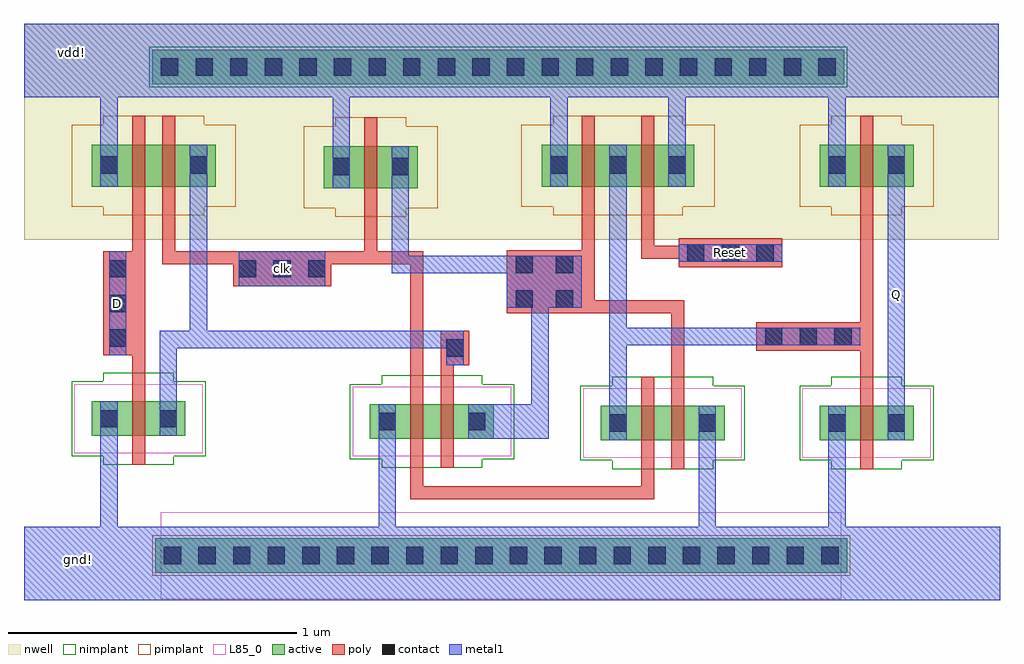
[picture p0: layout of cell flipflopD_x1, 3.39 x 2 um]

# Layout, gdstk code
from math import pi, radians
import gdstk
lib = gdstk.Library(unit=1e-6, precision=5e-10)
def R(c, l, rs):  # rectangles x0, y0, x1, y1
    for r in rs: c.add(gdstk.rectangle(r[:2], r[2:], *l))
def A(c, l, x, y, w, h, nx, ny, dx, dy):  # array of equal rectangles
    R(c, l, [(x+i*dx, y+j*dy, x+i*dx+w, y+j*dy+h) for i in range(nx) for j in range(ny)])
active = (1, 0)
nwell = (2, 0)
poly = (3, 0)
nimplant = (4, 0)
pimplant = (5, 0)
contact = (6, 0)
metal1 = (7, 0)
L85_0 = (85, 0)

pmos1v_cdns_764523440820 = lib.new_cell('pmos1v_CDNS_764523440820')
R(pmos1v_cdns_764523440820, active, [(-0.14,0,0,0.145), (0,0,0.045,0.145), (0.045,0,0.185,0.145)])
R(pmos1v_cdns_764523440820, nwell, [(-0.2,-0.06,0.245,0.205)])
R(pmos1v_cdns_764523440820, poly, [(0,-0.1,0.045,-0.05), (0,-0.05,0.045,0), (0,0,0.045,0.145), (0,0.145,0.045,0.195), (0,0.195,0.045,0.245)])
R(pmos1v_cdns_764523440820, pimplant, [(-0.1,-0.1,0.145,0.245), (-0.21,-0.07,0.255,0.215)])
R(pmos1v_cdns_764523440820, contact, [(-0.11,0.045,-0.05,0.105), (0.095,0.045,0.155,0.105)])
R(pmos1v_cdns_764523440820, metal1, [(-0.11,0,-0.05,0.145), (0.095,0,0.155,0.145)])

nmos1v_cdns_764523440821 = lib.new_cell('nmos1v_CDNS_764523440821')
R(nmos1v_cdns_764523440821, active, [(-0.14,0,0,0.12), (0,0,0.045,0.12), (0.045,0,0.185,0.12)])
R(nmos1v_cdns_764523440821, poly, [(0,-0.1,0.045,-0.05), (0,-0.05,0.045,0), (0,0,0.045,0.12), (0,0.12,0.045,0.17), (0,0.17,0.045,0.22)])
R(nmos1v_cdns_764523440821, nimplant, [(-0.1,-0.1,0.145,0.22), (-0.21,-0.07,0.255,0.19)])
R(nmos1v_cdns_764523440821, contact, [(-0.11,0.03,-0.05,0.09), (0.095,0.03,0.155,0.09)])
R(nmos1v_cdns_764523440821, metal1, [(-0.11,0,-0.05,0.12), (0.095,0,0.155,0.12)])
R(nmos1v_cdns_764523440821, L85_0, [(-0.2,-0.06,0.245,0.18)])

nmos1v_cdns_764523440822 = lib.new_cell('nmos1v_CDNS_764523440822')
R(nmos1v_cdns_764523440822, active, [(-0.14,0,0,0.12), (0,0,0.045,0.12), (0.045,0,0.075,0.12)])
R(nmos1v_cdns_764523440822, poly, [(0,-0.1,0.045,-0.05), (0,-0.05,0.045,0), (0,0,0.045,0.12), (0,0.12,0.045,0.17), (0,0.17,0.045,0.22)])
R(nmos1v_cdns_764523440822, nimplant, [(-0.1,-0.1,0.145,0.22), (-0.21,-0.07,0.145,0.19)])
R(nmos1v_cdns_764523440822, contact, [(-0.11,0.03,-0.05,0.09)])
R(nmos1v_cdns_764523440822, metal1, [(-0.11,0,-0.05,0.12)])
R(nmos1v_cdns_764523440822, L85_0, [(-0.2,-0.06,0.135,0.18)])

nmos1v_cdns_764523440823 = lib.new_cell('nmos1v_CDNS_764523440823')
R(nmos1v_cdns_764523440823, active, [(-0.03,0,0,0.12), (0,0,0.045,0.12), (0.045,0,0.185,0.12)])
R(nmos1v_cdns_764523440823, poly, [(0,-0.1,0.045,-0.05), (0,-0.05,0.045,0), (0,0,0.045,0.12), (0,0.12,0.045,0.17), (0,0.17,0.045,0.22)])
R(nmos1v_cdns_764523440823, nimplant, [(-0.1,-0.1,0.145,0.22), (-0.1,-0.07,0.255,0.19)])
R(nmos1v_cdns_764523440823, contact, [(0.095,0.03,0.155,0.09)])
R(nmos1v_cdns_764523440823, metal1, [(0.095,0,0.155,0.12)])
R(nmos1v_cdns_764523440823, L85_0, [(-0.09,-0.06,0.245,0.18)])

pmos1v_cdns_764523440824 = lib.new_cell('pmos1v_CDNS_764523440824')
R(pmos1v_cdns_764523440824, active, [(-0.03,0,0,0.145), (0,0,0.045,0.145), (0.045,0,0.185,0.145)])
R(pmos1v_cdns_764523440824, nwell, [(-0.09,-0.06,0.245,0.205)])
R(pmos1v_cdns_764523440824, poly, [(0,-0.1,0.045,-0.05), (0,-0.05,0.045,0), (0,0,0.045,0.145), (0,0.145,0.045,0.195), (0,0.195,0.045,0.245)])
R(pmos1v_cdns_764523440824, pimplant, [(-0.1,-0.1,0.145,0.245), (-0.1,-0.07,0.255,0.215)])
R(pmos1v_cdns_764523440824, contact, [(0.095,0.045,0.155,0.105)])
R(pmos1v_cdns_764523440824, metal1, [(0.095,0,0.155,0.145)])

pmos1v_cdns_764523440825 = lib.new_cell('pmos1v_CDNS_764523440825')
R(pmos1v_cdns_764523440825, active, [(-0.14,0,0,0.145), (0,0,0.045,0.145), (0.045,0,0.075,0.145)])
R(pmos1v_cdns_764523440825, nwell, [(-0.2,-0.06,0.135,0.205)])
R(pmos1v_cdns_764523440825, poly, [(0,-0.1,0.045,-0.05), (0,-0.05,0.045,0), (0,0,0.045,0.145), (0,0.145,0.045,0.195), (0,0.195,0.045,0.245)])
R(pmos1v_cdns_764523440825, pimplant, [(-0.1,-0.1,0.145,0.245), (-0.21,-0.07,0.145,0.215)])
R(pmos1v_cdns_764523440825, contact, [(-0.11,0.045,-0.05,0.105)])
R(pmos1v_cdns_764523440825, metal1, [(-0.11,0,-0.05,0.145)])

pmos1v_cdns_764523440826 = lib.new_cell('pmos1v_CDNS_764523440826')
R(pmos1v_cdns_764523440826, active, [(-0.14,0,0,0.145), (0,0,0.045,0.145), (0.045,0,0.095,0.145)])
R(pmos1v_cdns_764523440826, nwell, [(-0.2,-0.06,0.155,0.205)])
R(pmos1v_cdns_764523440826, poly, [(0,-0.1,0.045,-0.05), (0,-0.05,0.045,0), (0,0,0.045,0.145), (0,0.145,0.045,0.195), (0,0.195,0.045,0.245)])
R(pmos1v_cdns_764523440826, pimplant, [(-0.1,-0.1,0.145,0.245), (-0.21,-0.07,0.165,0.215)])
R(pmos1v_cdns_764523440826, contact, [(-0.11,0.045,-0.05,0.105)])
R(pmos1v_cdns_764523440826, metal1, [(-0.11,0,-0.05,0.145)])

pmos1v_cdns_764523440827 = lib.new_cell('pmos1v_CDNS_764523440827')
R(pmos1v_cdns_764523440827, active, [(-0.14,0,0,0.145), (0,0,0.045,0.145), (0.045,0,0.155,0.145)])
R(pmos1v_cdns_764523440827, nwell, [(-0.2,-0.06,0.215,0.205)])
R(pmos1v_cdns_764523440827, poly, [(0,-0.1,0.045,-0.05), (0,-0.05,0.045,0), (0,0,0.045,0.145), (0,0.145,0.045,0.195), (0,0.195,0.045,0.245)])
R(pmos1v_cdns_764523440827, pimplant, [(-0.1,-0.1,0.145,0.245), (-0.21,-0.07,0.225,0.215)])
R(pmos1v_cdns_764523440827, contact, [(-0.11,0.045,-0.05,0.105), (0.095,0.045,0.155,0.105)])
R(pmos1v_cdns_764523440827, metal1, [(-0.11,0,-0.05,0.145), (0.095,0,0.155,0.145)])

m1_psub_cdns_76452344082 = lib.new_cell('M1_PSUB_CDNS_764523440820')
R(m1_psub_cdns_76452344082, active, [(-1.2,-0.06,1.2,0.06)])
R(m1_psub_cdns_76452344082, pimplant, [(-1.21,-0.07,1.21,0.07)])
A(m1_psub_cdns_76452344082, contact, -1.17, -0.03, 0.06, 0.06, 20, 1, 0.12, 0)
R(m1_psub_cdns_76452344082, metal1, [(-1.17,-0.06,1.17,0.06)])
R(m1_psub_cdns_76452344082, L85_0, [(-1.18,-0.15,1.18,0.15)])

m1_nwell_cdns_7645234408 = lib.new_cell('M1_NWELL_CDNS_764523440821')
R(m1_nwell_cdns_7645234408, active, [(-1.2,-0.06,1.2,0.06)])
R(m1_nwell_cdns_7645234408, nwell, [(-1.23,-0.15,1.23,0.15)])
R(m1_nwell_cdns_7645234408, nimplant, [(-1.21,-0.07,1.21,0.07)])
A(m1_nwell_cdns_7645234408, contact, -1.17, -0.03, 0.06, 0.06, 20, 1, 0.12, 0)
R(m1_nwell_cdns_7645234408, metal1, [(-1.17,-0.06,1.17,0.06)])

m1_po_cdns_764523440822 = lib.new_cell('M1_PO_CDNS_764523440822')
R(m1_po_cdns_764523440822, poly, [(-0.17,-0.06,0.17,0.06)])
A(m1_po_cdns_764523440822, contact, -0.15, -0.03, 0.06, 0.06, 3, 1, 0.12, 0)
R(m1_po_cdns_764523440822, metal1, [(-0.15,-0.06,0.15,0.06)])

m1_po_cdns_764523440823 = lib.new_cell('M1_PO_CDNS_764523440823')
R(m1_po_cdns_764523440823, poly, [(-0.05,-0.18,0.05,0.18)])
A(m1_po_cdns_764523440823, contact, -0.03, -0.15, 0.06, 0.06, 1, 3, 0, 0.12)
R(m1_po_cdns_764523440823, metal1, [(-0.03,-0.18,0.03,0.18)])

m1_po_cdns_764523440824 = lib.new_cell('M1_PO_CDNS_764523440824')
R(m1_po_cdns_764523440824, poly, [(-0.11,-0.13,0.11,0.13)])
R(m1_po_cdns_764523440824, contact, [(-0.09,-0.1,-0.03,-0.04), (0.03,-0.1,0.09,-0.04), (-0.09,0.04,-0.03,0.1), (0.03,0.04,0.09,0.1)])
R(m1_po_cdns_764523440824, metal1, [(-0.09,-0.13,0.09,0.13)])

m1_po_cdns_764523440825 = lib.new_cell('M1_PO_CDNS_764523440825')
R(m1_po_cdns_764523440825, poly, [(-0.05,-0.06,0.05,0.06)])
R(m1_po_cdns_764523440825, contact, [(-0.03,-0.03,0.03,0.03)])
R(m1_po_cdns_764523440825, metal1, [(-0.03,-0.06,0.03,0.06)])

flipflopd_x1 = lib.new_cell('flipflopD_x1')
R(flipflopd_x1, nwell, [(0,1.25,3.38,2)])
R(flipflopd_x1, metal1, [(0,0,3.385,0.255), (0.14,0.09,0.24,0.19), (0.295,1,0.355,1.06), (2.995,1.03,3.055,1.09), (0.865,1.12,0.925,1.18), (2.42,1.175,2.48,1.235), (0,1.745,3.38,2), (0.115,1.85,0.215,1.95)])
flipflopd_x1.add(gdstk.FlexPath([(2.4425,1.2075),(2.4425,1.22)], 0.045, ends=(0.0225, 0), simple_path=True, layer=3, datatype=0))  # poly
flipflopd_x1.add(gdstk.FlexPath([(0.3975,1.335),(0.3975,0.79)], 0.045, ends="flush", simple_path=True, layer=3, datatype=0))  # poly
flipflopd_x1.add(gdstk.FlexPath([(1.3625,1.1875),(1.3625,0.78)], 0.045, ends=(0.0225, 0), simple_path=True, layer=3, datatype=0))  # poly
flipflopd_x1.add(gdstk.FlexPath([(0.5025,1.335),(0.5025,1.1875)], 0.045, ends=(0, 0.0225), simple_path=True, layer=3, datatype=0))  # poly
flipflopd_x1.add(gdstk.FlexPath([(1.2025,1.1875),(1.3625,1.1875)], 0.045, ends="extended", simple_path=True, layer=3, datatype=0))  # poly
flipflopd_x1.add(gdstk.FlexPath([(1.9575,1.335),(1.9575,1.0175)], 0.045, ends=(0, 0.0225), simple_path=True, layer=3, datatype=0))  # poly
flipflopd_x1.add(gdstk.FlexPath([(1.3625,0.46),(1.3625,0.3725)], 0.045, ends=(0, 0.0225), simple_path=True, layer=3, datatype=0))  # poly
flipflopd_x1.add(gdstk.FlexPath([(1.3625,0.3725),(2.1625,0.3725)], 0.045, ends="extended", simple_path=True, layer=3, datatype=0))  # poly
flipflopd_x1.add(gdstk.FlexPath([(2.1625,0.3725),(2.1625,0.455)], 0.045, ends=(0.0225, 0), simple_path=True, layer=3, datatype=0))  # poly
flipflopd_x1.add(gdstk.FlexPath([(2.9225,1.335),(2.9225,0.775)], 0.045, ends="flush", simple_path=True, layer=3, datatype=0))  # poly
flipflopd_x1.add(gdstk.FlexPath([(1.2025,1.33),(1.2025,1.1875)], 0.045, ends=(0, 0.0225), simple_path=True, layer=3, datatype=0))  # poly
flipflopd_x1.add(gdstk.FlexPath([(0.5025,1.1875),(1.2025,1.1875)], 0.045, ends="extended", simple_path=True, layer=3, datatype=0))  # poly
flipflopd_x1.add(gdstk.FlexPath([(2.1625,1.335),(2.1625,1.2075)], 0.045, ends=(0, 0.0225), simple_path=True, layer=3, datatype=0))  # poly
flipflopd_x1.add(gdstk.FlexPath([(2.1625,1.2075),(2.4425,1.2075)], 0.045, ends="extended", simple_path=True, layer=3, datatype=0))  # poly
flipflopd_x1.add(gdstk.FlexPath([(2.2675,1.0175),(2.2675,0.775)], 0.045, ends=(0.0225, 0), simple_path=True, layer=3, datatype=0))  # poly
flipflopd_x1.add(gdstk.FlexPath([(1.9575,1.0175),(2.2675,1.0175)], 0.045, ends="extended", simple_path=True, layer=3, datatype=0))  # poly
flipflopd_x1.add(gdstk.FlexPath([(1.4675,0.78),(1.4675,0.8725)], 0.045, ends=(0, 0.0225), simple_path=True, layer=3, datatype=0))  # poly
flipflopd_x1.add(gdstk.FlexPath([(1.4675,0.8725),(1.49,0.8725)], 0.045, ends=(0.0225, 0), simple_path=True, layer=3, datatype=0))  # poly
flipflopd_x1.add(gdstk.FlexPath([(2.265,1.58),(2.265,1.745)], 0.06, ends="flush", simple_path=True, layer=7, datatype=0))  # metal1
flipflopd_x1.add(gdstk.FlexPath([(0.5,0.69),(0.5,0.905)], 0.06, ends=(0, 0.03), simple_path=True, layer=7, datatype=0))  # metal1
flipflopd_x1.add(gdstk.FlexPath([(0.5,0.905),(0.605,0.905)], 0.06, ends="extended", simple_path=True, layer=7, datatype=0))  # metal1
flipflopd_x1.add(gdstk.FlexPath([(0.605,0.905),(0.605,1.435)], 0.06, ends=(0.03, 0), simple_path=True, layer=7, datatype=0))  # metal1
flipflopd_x1.add(gdstk.FlexPath([(0.295,0.57),(0.295,0.255)], 0.06, ends="flush", simple_path=True, layer=7, datatype=0))  # metal1
flipflopd_x1.add(gdstk.FlexPath([(1.26,0.56),(1.26,0.255)], 0.06, ends="flush", simple_path=True, layer=7, datatype=0))  # metal1
flipflopd_x1.add(gdstk.FlexPath([(0.605,0.905),(1.495,0.905)], 0.06, ends=(0.03, 0), simple_path=True, layer=7, datatype=0))  # metal1
flipflopd_x1.add(gdstk.FlexPath([(1.305,1.43),(1.305,1.165)], 0.06, ends=(0, 0.03), simple_path=True, layer=7, datatype=0))  # metal1
flipflopd_x1.add(gdstk.FlexPath([(1.305,1.165),(1.79,1.165)], 0.06, ends="extended", simple_path=True, layer=7, datatype=0))  # metal1
flipflopd_x1.add(gdstk.FlexPath([(1.6,0.62),(1.785,0.62)], 0.12, ends="flush", simple_path=True, layer=7, datatype=0))  # metal1
flipflopd_x1.add(gdstk.FlexPath([(2.06,0.675),(2.06,0.915)], 0.06, ends=(0, 0.03), simple_path=True, layer=7, datatype=0))  # metal1
flipflopd_x1.add(gdstk.FlexPath([(2.37,0.555),(2.37,0.255)], 0.06, ends="flush", simple_path=True, layer=7, datatype=0))  # metal1
flipflopd_x1.add(gdstk.FlexPath([(2.82,0.555),(2.82,0.255)], 0.06, ends="flush", simple_path=True, layer=7, datatype=0))  # metal1
flipflopd_x1.add(gdstk.FlexPath([(3.025,1.435),(3.025,0.675)], 0.06, ends="flush", simple_path=True, layer=7, datatype=0))  # metal1
flipflopd_x1.add(gdstk.FlexPath([(1.1,1.575),(1.1,1.745)], 0.06, ends="flush", simple_path=True, layer=7, datatype=0))  # metal1
flipflopd_x1.add(gdstk.FlexPath([(2.06,1.435),(2.06,0.915)], 0.06, ends=(0, 0.03), simple_path=True, layer=7, datatype=0))  # metal1
flipflopd_x1.add(gdstk.FlexPath([(1.79,1.165),(1.79,0.56)], 0.06, ends=(0.03, 0), simple_path=True, layer=7, datatype=0))  # metal1
flipflopd_x1.add(gdstk.FlexPath([(1.855,1.58),(1.855,1.745)], 0.06, ends="flush", simple_path=True, layer=7, datatype=0))  # metal1
flipflopd_x1.add(gdstk.FlexPath([(2.06,0.915),(2.72,0.915)], 0.06, ends=(0.03, 0), simple_path=True, layer=7, datatype=0))  # metal1
flipflopd_x1.add(gdstk.FlexPath([(0.295,1.58),(0.295,1.745)], 0.06, ends="flush", simple_path=True, layer=7, datatype=0))  # metal1
flipflopd_x1.add(gdstk.FlexPath([(2.82,1.58),(2.82,1.745)], 0.06, ends="flush", simple_path=True, layer=7, datatype=0))  # metal1
flipflopd_x1.add(gdstk.Reference(pmos1v_cdns_764523440820, (2.9,1.435)))
flipflopd_x1.add(gdstk.Reference(pmos1v_cdns_764523440820, (1.18,1.43)))
flipflopd_x1.add(gdstk.Reference(nmos1v_cdns_764523440821, (0.375,0.57)))
flipflopd_x1.add(gdstk.Reference(nmos1v_cdns_764523440821, (2.9,0.555)))
flipflopd_x1.add(gdstk.Reference(nmos1v_cdns_764523440822, (1.34,0.56)))
flipflopd_x1.add(gdstk.Reference(nmos1v_cdns_764523440822, (2.29,0.555), rotation=pi, x_reflection=True))
flipflopd_x1.add(gdstk.Reference(nmos1v_cdns_764523440823, (2.185,0.555), rotation=pi, x_reflection=True))
flipflopd_x1.add(gdstk.Reference(nmos1v_cdns_764523440823, (1.445,0.56)))
flipflopd_x1.add(gdstk.Reference(pmos1v_cdns_764523440824, (0.48,1.435)))
flipflopd_x1.add(gdstk.Reference(pmos1v_cdns_764523440825, (0.375,1.435)))
flipflopd_x1.add(gdstk.Reference(pmos1v_cdns_764523440826, (2.185,1.435), rotation=pi, x_reflection=True))
flipflopd_x1.add(gdstk.Reference(pmos1v_cdns_764523440827, (1.935,1.435)))
flipflopd_x1.add(gdstk.Reference(m1_psub_cdns_76452344082, (1.655,0.155)))
flipflopd_x1.add(gdstk.Reference(m1_nwell_cdns_7645234408, (1.645,1.85)))
flipflopd_x1.add(gdstk.Reference(m1_po_cdns_764523440822, (0.895,1.15)))
flipflopd_x1.add(gdstk.Reference(m1_po_cdns_764523440823, (2.45,1.205), rotation=3*pi/2))
flipflopd_x1.add(gdstk.Reference(m1_po_cdns_764523440823, (2.72,0.915), rotation=pi/2))
flipflopd_x1.add(gdstk.Reference(m1_po_cdns_764523440823, (0.325,1.03)))
flipflopd_x1.add(gdstk.Reference(m1_po_cdns_764523440824, (1.805,1.105), rotation=pi/2))
flipflopd_x1.add(gdstk.Reference(m1_po_cdns_764523440825, (1.495,0.875), rotation=pi))
flipflopd_x1.add(gdstk.Label('D', (0.325,1.03), layer=7, texttype=0))
flipflopd_x1.add(gdstk.Label('Reset', (2.45,1.205), layer=7, texttype=0))
flipflopd_x1.add(gdstk.Label('vdd!', (0.165,1.9), layer=7, texttype=0))
flipflopd_x1.add(gdstk.Label('gnd!', (0.19,0.14), layer=7, texttype=0))
flipflopd_x1.add(gdstk.Label('Q', (3.025,1.06), layer=7, texttype=0))
flipflopd_x1.add(gdstk.Label('clk', (0.895,1.15), layer=7, texttype=0))

lib.write_gds('flipflopD_x1.gds')
